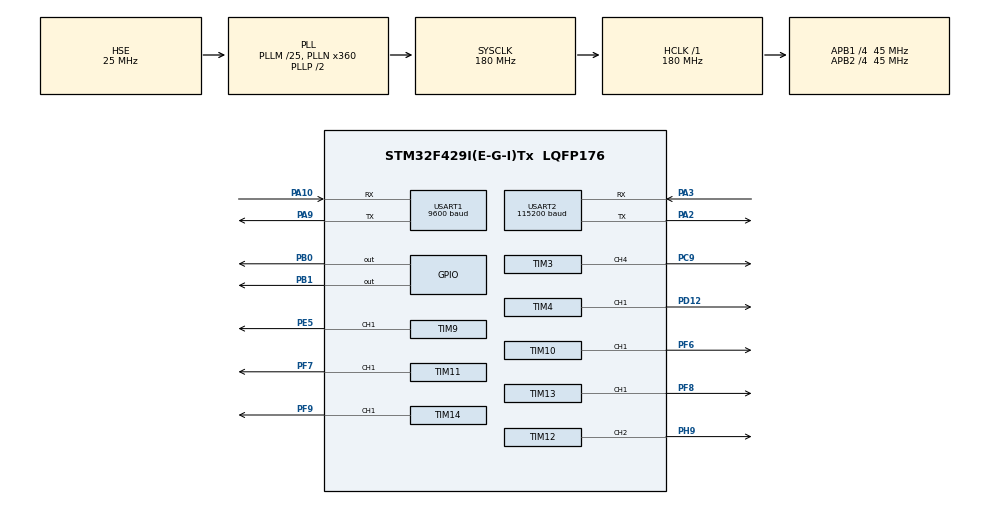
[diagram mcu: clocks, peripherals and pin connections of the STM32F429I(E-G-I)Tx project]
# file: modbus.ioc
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Mcu.Family=STM32F4
Mcu.Name=STM32F429I(E-G-I)Tx
Mcu.Package=LQFP176
NVIC.PriorityGroup=NVIC_PRIORITYGROUP_2
NVIC.TIM6_DAC_IRQn=true\:1\:0\:true\:false\:true
NVIC.USART1_IRQn=true\:3\:3\:true\:false\:true
NVIC.USART2_IRQn=true\:1\:0\:true\:false\:true
PA10.Mode=Asynchronous
PA10.Signal=USART1_RX
PA2.Mode=Asynchronous
PA2.Signal=USART2_TX
PA3.Mode=Asynchronous
PA3.Signal=USART2_RX
PA9.Mode=Asynchronous
PA9.Signal=USART1_TX
PB0.GPIO_PuPd=GPIO_PULLUP
PB0.GPIO_Speed=GPIO_SPEED_FREQ_VERY_HIGH
PB0.PinState=GPIO_PIN_RESET
PB0.Signal=GPIO_Output
PB1.GPIO_ModeDefaultOutputPP=GPIO_MODE_OUTPUT_PP
PB1.GPIO_PuPd=GPIO_PULLUP
PB1.GPIO_Speed=GPIO_SPEED_FREQ_VERY_HIGH
PB1.Signal=GPIO_Output
PC9.Signal=S_TIM3_CH4
PD12.Signal=S_TIM4_CH1
PE5.Signal=S_TIM9_CH1
PF6.Signal=S_TIM10_CH1
PF7.Signal=S_TIM11_CH1
PF8.Signal=S_TIM13_CH1
PF9.Signal=S_TIM14_CH1
PH0/OSC_IN.Mode=HSE-External-Oscillator
PH0/OSC_IN.Signal=RCC_OSC_IN
PH1/OSC_OUT.Mode=HSE-External-Oscillator
PH1/OSC_OUT.Signal=RCC_OSC_OUT
PH9.Signal=S_TIM12_CH2
ProjectManager.HeapSize=0x200
ProjectManager.StackSize=0x400
ProjectManager.TargetToolchain=MDK-ARM V5
RCC.48MHZClocksFreq_Value=90000000
RCC.AHBFreq_Value=180000000
RCC.APB1CLKDivider=RCC_HCLK_DIV4
RCC.APB1Freq_Value=45000000
RCC.APB1TimFreq_Value=90000000
RCC.APB2CLKDivider=RCC_HCLK_DIV4
RCC.APB2Freq_Value=45000000
RCC.APB2TimFreq_Value=90000000
RCC.CortexFreq_Value=180000000
RCC.HCLKFreq_Value=180000000
RCC.HSE_VALUE=25000000
RCC.HSI_VALUE=16000000
RCC.LSE_VALUE=32768
RCC.PLLM=25
RCC.PLLN=360
RCC.PLLSourceVirtual=RCC_PLLSOURCE_HSE
RCC.SYSCLKFreq_VALUE=180000000
RCC.SYSCLKSource=RCC_SYSCLKSOURCE_PLLCLK
RCC.VCOOutputFreq_Value=360000000
SH.S_TIM10_CH1.0=TIM10_CH1,PWM Generation1 CH1
SH.S_TIM11_CH1.0=TIM11_CH1,PWM Generation1 CH1
SH.S_TIM12_CH2.0=TIM12_CH2,PWM Generation2 CH2
SH.S_TIM13_CH1.0=TIM13_CH1,PWM Generation1 CH1
SH.S_TIM14_CH1.0=TIM14_CH1,PWM Generation1 CH1
SH.S_TIM3_CH4.0=TIM3_CH4,PWM Generation4 CH4
SH.S_TIM4_CH1.0=TIM4_CH1,PWM Generation1 CH1
SH.S_TIM9_CH1.0=TIM9_CH1,PWM Generation1 CH1
TIM10.Period=100
TIM10.Prescaler=90
TIM10.Pulse=50
TIM11.Period=100
TIM11.Prescaler=90
TIM11.Pulse=50
TIM12.Channel-PWM\ Generation2\ CH2=TIM_CHANNEL_2
TIM12.Period=100
TIM12.Prescaler=90
TIM12.Pulse-PWM\ Generation2\ CH2=50
TIM13.Period=100
TIM13.Prescaler=90
TIM13.Pulse=50
TIM14.Period=100
TIM14.Prescaler=90
TIM14.Pulse=50
TIM3.Channel-PWM\ Generation4\ CH4=TIM_CHANNEL_4
TIM3.Period=100
TIM3.Prescaler=90
TIM3.Pulse-PWM\ Generation4\ CH4=50
TIM4.Period=100
TIM4.Prescaler=90
TIM4.Pulse-PWM\ Generation1\ CH1=50
TIM6.Period=1799
TIM6.Prescaler=89
TIM6.TIM_MasterOutputTrigger=TIM_TRGO_RESET
TIM9.Period=100
TIM9.Prescaler=90
TIM9.Pulse-PWM\ Generation1\ CH1=50
USART1.BaudRate=9600
USART2.BaudRate=115200
VP_TIM10_VS_ClockSourceINT.Mode=Enable_Timer
VP_TIM11_VS_ClockSourceINT.Mode=Enable_Timer
VP_TIM13_VS_ClockSourceINT.Mode=Enable_Timer
VP_TIM14_VS_ClockSourceINT.Mode=Enable_Timer
VP_TIM6_VS_ClockSourceINT.Mode=Enable_Timer
board=modbus

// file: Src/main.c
/**
  ******************************************************************************
  * File Name          : main.c
  * Description        : Main program body
  ******************************************************************************
  *
  * COPYRIGHT(c) 2018 STMicroelectronics
  *
  * Redistribution and use in source and binary forms, with or without modification,
  * are permitted provided that the following conditions are met:
  *   1. Redistributions of source code must retain the above copyright notice,
  *      this list of conditions and the following disclaimer.
  *   2. Redistributions in binary form must reproduce the above copyright notice,
  *      this list of conditions and the following disclaimer in the documentation
  *      and/or other materials provided with the distribution.
  *   3. Neither the name of STMicroelectronics nor the names of its contributors
  *      may be used to endorse or promote products derived from this software
  *      without specific prior written permission.
  *
  * THIS SOFTWARE IS PROVIDED BY THE COPYRIGHT HOLDERS AND CONTRIBUTORS "AS IS"
  * AND ANY EXPRESS OR IMPLIED WARRANTIES, INCLUDING, BUT NOT LIMITED TO, THE
  * IMPLIED WARRANTIES OF MERCHANTABILITY AND FITNESS FOR A PARTICULAR PURPOSE ARE
  * DISCLAIMED. IN NO EVENT SHALL THE COPYRIGHT HOLDER OR CONTRIBUTORS BE LIABLE
  * FOR ANY DIRECT, INDIRECT, INCIDENTAL, SPECIAL, EXEMPLARY, OR CONSEQUENTIAL
  * DAMAGES (INCLUDING, BUT NOT LIMITED TO, PROCUREMENT OF SUBSTITUTE GOODS OR
  * SERVICES; LOSS OF USE, DATA, OR PROFITS; OR BUSINESS INTERRUPTION) HOWEVER
  * CAUSED AND ON ANY THEORY OF LIABILITY, WHETHER IN CONTRACT, STRICT LIABILITY,
  * OR TORT (INCLUDING NEGLIGENCE OR OTHERWISE) ARISING IN ANY WAY OUT OF THE USE
  * OF THIS SOFTWARE, EVEN IF ADVISED OF THE POSSIBILITY OF SUCH DAMAGE.
  *
  ******************************************************************************
  */
#include "stm32f4xx_hal.h"

/* USER CODE BEGIN Includes */

#include "delay.h"
#include "sys.h"
#include "myapp.h"
#include "mb.h"
#include "mbport.h"

/* USER CODE END Includes */

TIM_HandleTypeDef htim3;
TIM_HandleTypeDef htim4;
TIM_HandleTypeDef htim6;
TIM_HandleTypeDef htim9;
TIM_HandleTypeDef htim10;
TIM_HandleTypeDef htim11;
TIM_HandleTypeDef htim12;
TIM_HandleTypeDef htim13;
TIM_HandleTypeDef htim14;

UART_HandleTypeDef huart1;
UART_HandleTypeDef huart2;

/* USER CODE BEGIN PV */
/* Private variables ---------------------------------------------------------*/

/*线圈状态寄存器*/
#define REG_COILS_START 0x0000
#define REG_COILS_SIZE 8

/*线圈状态输入寄存器*/
#define REG_DISCRETE_START 0x0000
#define REG_DISCRETE_SIZE 8

/*保持寄存器*/
#define REG_HOLDING_START 0x0000
#define REG_HOLDING_NREGS 10

/*输入寄存器*/
#define REG_INPUT_START 0x0000
#define REG_INPUT_NREGS 1

/* USER CODE END PV */

void SystemClock_Config(void);
static void MX_GPIO_Init(void);
static void MX_TIM3_Init(void);
static void MX_TIM10_Init(void);
static void MX_TIM11_Init(void);
static void MX_TIM13_Init(void);
static void MX_TIM14_Init(void);
static void MX_TIM4_Init(void);
static void MX_TIM9_Init(void);
static void MX_TIM12_Init(void);
static void MX_TIM6_Init(void);
static void MX_USART2_UART_Init(void);
static void MX_USART1_UART_Init(void);

void HAL_TIM_MspPostInit(TIM_HandleTypeDef *htim);

/* USER CODE BEGIN PFP */
/* Private function prototypes -----------------------------------------------*/

/* USER CODE END PFP */

/* USER CODE BEGIN 0 */

/*定义线圈状态寄存器的地址起始值和存储数组*/
uint8_t   ucRegCoilsStart = REG_HOLDING_START;
uint8_t   ucRegCoilsBuf[REG_COILS_SIZE / 8];

/*定义线圈输入状态寄存器的地址起始值和存储数组*/
uint8_t   ucRegDiscreteStart = REG_HOLDING_START;
uint8_t   ucRegDiscreteBuf[REG_DISCRETE_SIZE / 8];

/*定义保持寄存器的地址起始值和存储数组*/
uint16_t   usRegHoldingStart = REG_HOLDING_START;
uint16_t   usRegHoldingBuf[REG_HOLDING_NREGS] = {0,0,0,0,0,0,0,0,0,0};

/*定义输入寄存器的地址起始值和存储数组*/
uint16_t   usRegInputStart = REG_INPUT_START;
uint16_t   usRegInputBuf[REG_INPUT_NREGS];

/* USER CODE END 0 */

int main(void)
{

  /* MCU Configuration----------------------------------------------------------*/

  /* Reset of all peripherals, Initializes the Flash interface and the Systick. */
  HAL_Init();

  /* Configure the system clock */
  SystemClock_Config();

  /* Initialize all configured peripherals */
  MX_GPIO_Init();
  MX_TIM3_Init();
  MX_TIM10_Init();
  MX_TIM11_Init();
  MX_TIM13_Init();
  MX_TIM14_Init();
  MX_TIM4_Init();
  MX_TIM9_Init();
  MX_TIM12_Init();
  MX_TIM6_Init();
  MX_USART2_UART_Init();
  MX_USART1_UART_Init();

  /* USER CODE BEGIN 2 */

	delay_init(180);

	HAL_UART_Receive_IT(&huart2, (uint8_t *)huart2_aRxBuffer, 1);

	eMBErrorCode    eStatus;

    eStatus = eMBInit( MB_RTU, 0x02, 0, 115200, MB_PAR_EVEN );

    /* Enable the Modbus Protocol Stack. */
    eStatus = eMBEnable();

  /* USER CODE END 2 */

  /* Infinite loop */
  while (1)
  {

  /* USER CODE BEGIN 3 */

    for( ;; )
    {

        ( void )eMBPoll(  );
		//vMBPortSerialEnable( TRUE, FALSE );
        //printf("eMBPoll\r\n");
           // eSndState = STATE_TX_IDLE;
        /* Here we simply count the number of poll cycles. */
       //usRegInputBuf[0]++;
    }

  }
  /* USER CODE END 3 */

}

/** System Clock Configuration
*/
void SystemClock_Config(void)
{

  RCC_OscInitTypeDef RCC_OscInitStruct;
  RCC_ClkInitTypeDef RCC_ClkInitStruct;

  __HAL_RCC_PWR_CLK_ENABLE();

  __HAL_PWR_VOLTAGESCALING_CONFIG(PWR_REGULATOR_VOLTAGE_SCALE1);

  RCC_OscInitStruct.OscillatorType = RCC_OSCILLATORTYPE_HSE;
  RCC_OscInitStruct.HSEState = RCC_HSE_ON;
  RCC_OscInitStruct.PLL.PLLState = RCC_PLL_ON;
  RCC_OscInitStruct.PLL.PLLSource = RCC_PLLSOURCE_HSE;
  RCC_OscInitStruct.PLL.PLLM = 25;
  RCC_OscInitStruct.PLL.PLLN = 360;
  RCC_OscInitStruct.PLL.PLLP = RCC_PLLP_DIV2;
  RCC_OscInitStruct.PLL.PLLQ = 4;
  HAL_RCC_OscConfig(&RCC_OscInitStruct);

  HAL_PWREx_EnableOverDrive();

  RCC_ClkInitStruct.ClockType = RCC_CLOCKTYPE_HCLK|RCC_CLOCKTYPE_SYSCLK
                              |RCC_CLOCKTYPE_PCLK1|RCC_CLOCKTYPE_PCLK2;
  RCC_ClkInitStruct.SYSCLKSource = RCC_SYSCLKSOURCE_PLLCLK;
  RCC_ClkInitStruct.AHBCLKDivider = RCC_SYSCLK_DIV1;
  RCC_ClkInitStruct.APB1CLKDivider = RCC_HCLK_DIV4;
  RCC_ClkInitStruct.APB2CLKDivider = RCC_HCLK_DIV4;
  HAL_RCC_ClockConfig(&RCC_ClkInitStruct, FLASH_LATENCY_5);

  HAL_SYSTICK_Config(HAL_RCC_GetHCLKFreq()/1000);

  HAL_SYSTICK_CLKSourceConfig(SYSTICK_CLKSOURCE_HCLK);

  /* SysTick_IRQn interrupt configuration */
  HAL_NVIC_SetPriority(SysTick_IRQn, 0, 0);
}

/* TIM3 init function */
void MX_TIM3_Init(void)
{

  TIM_MasterConfigTypeDef sMasterConfig;
  TIM_OC_InitTypeDef sConfigOC;

  htim3.Instance = TIM3;
  htim3.Init.Prescaler = 90;
  htim3.Init.CounterMode = TIM_COUNTERMODE_UP;
  htim3.Init.Period = 100;
  htim3.Init.ClockDivision = TIM_CLOCKDIVISION_DIV1;
  HAL_TIM_PWM_Init(&htim3);

  sMasterConfig.MasterOutputTrigger = TIM_TRGO_RESET;
  sMasterConfig.MasterSlaveMode = TIM_MASTERSLAVEMODE_DISABLE;
  HAL_TIMEx_MasterConfigSynchronization(&htim3, &sMasterConfig);

  sConfigOC.OCMode = TIM_OCMODE_PWM1;
  sConfigOC.Pulse = 50;
  sConfigOC.OCPolarity = TIM_OCPOLARITY_HIGH;
  sConfigOC.OCFastMode = TIM_OCFAST_DISABLE;
  HAL_TIM_PWM_ConfigChannel(&htim3, &sConfigOC, TIM_CHANNEL_4);

  HAL_TIM_MspPostInit(&htim3);

}

/* TIM4 init function */
void MX_TIM4_Init(void)
{

  TIM_MasterConfigTypeDef sMasterConfig;
  TIM_OC_InitTypeDef sConfigOC;

  htim4.Instance = TIM4;
  htim4.Init.Prescaler = 90;
  htim4.Init.CounterMode = TIM_COUNTERMODE_UP;
  htim4.Init.Period = 100;
  htim4.Init.ClockDivision = TIM_CLOCKDIVISION_DIV1;
  HAL_TIM_PWM_Init(&htim4);

  sMasterConfig.MasterOutputTrigger = TIM_TRGO_RESET;
  sMasterConfig.MasterSlaveMode = TIM_MASTERSLAVEMODE_DISABLE;
  HAL_TIMEx_MasterConfigSynchronization(&htim4, &sMasterConfig);

  sConfigOC.OCMode = TIM_OCMODE_PWM1;
  sConfigOC.Pulse = 50;
  sConfigOC.OCPolarity = TIM_OCPOLARITY_HIGH;
  sConfigOC.OCFastMode = TIM_OCFAST_DISABLE;
  HAL_TIM_PWM_ConfigChannel(&htim4, &sConfigOC, TIM_CHANNEL_1);

  HAL_TIM_MspPostInit(&htim4);

}

/* TIM6 init function */
void MX_TIM6_Init(void)
{

  TIM_MasterConfigTypeDef sMasterConfig;

  htim6.Instance = TIM6;
  htim6.Init.Prescaler = 89;
  htim6.Init.CounterMode = TIM_COUNTERMODE_UP;
  htim6.Init.Period = 1799;
  HAL_TIM_Base_Init(&htim6);

  sMasterConfig.MasterOutputTrigger = TIM_TRGO_RESET;
  sMasterConfig.MasterSlaveMode = TIM_MASTERSLAVEMODE_DISABLE;
  HAL_TIMEx_MasterConfigSynchronization(&htim6, &sMasterConfig);

}

/* TIM9 init function */
void MX_TIM9_Init(void)
{

  TIM_OC_InitTypeDef sConfigOC;

  htim9.Instance = TIM9;
  htim9.Init.Prescaler = 90;
  htim9.Init.CounterMode = TIM_COUNTERMODE_UP;
  htim9.Init.Period = 100;
  htim9.Init.ClockDivision = TIM_CLOCKDIVISION_DIV1;
  HAL_TIM_PWM_Init(&htim9);

  sConfigOC.OCMode = TIM_OCMODE_PWM1;
  sConfigOC.Pulse = 50;
  sConfigOC.OCPolarity = TIM_OCPOLARITY_HIGH;
  sConfigOC.OCFastMode = TIM_OCFAST_DISABLE;
  HAL_TIM_PWM_ConfigChannel(&htim9, &sConfigOC, TIM_CHANNEL_1);

  HAL_TIM_MspPostInit(&htim9);

}

/* TIM10 init function */
void MX_TIM10_Init(void)
{

  TIM_OC_InitTypeDef sConfigOC;

  htim10.Instance = TIM10;
  htim10.Init.Prescaler = 90;
  htim10.Init.CounterMode = TIM_COUNTERMODE_UP;
  htim10.Init.Period = 100;
  htim10.Init.ClockDivision = TIM_CLOCKDIVISION_DIV1;
  HAL_TIM_Base_Init(&htim10);

  HAL_TIM_PWM_Init(&htim10);

  sConfigOC.OCMode = TIM_OCMODE_PWM1;
  sConfigOC.Pulse = 50;
  sConfigOC.OCPolarity = TIM_OCPOLARITY_HIGH;
  sConfigOC.OCFastMode = TIM_OCFAST_DISABLE;
  HAL_TIM_PWM_ConfigChannel(&htim10, &sConfigOC, TIM_CHANNEL_1);

  HAL_TIM_MspPostInit(&htim10);

}

/* TIM11 init function */
void MX_TIM11_Init(void)
{

  TIM_OC_InitTypeDef sConfigOC;

  htim11.Instance = TIM11;
  htim11.Init.Prescaler = 90;
  htim11.Init.CounterMode = TIM_COUNTERMODE_UP;
  htim11.Init.Period = 100;
  htim11.Init.ClockDivision = TIM_CLOCKDIVISION_DIV1;
  HAL_TIM_Base_Init(&htim11);

  HAL_TIM_PWM_Init(&htim11);

  sConfigOC.OCMode = TIM_OCMODE_PWM1;
  sConfigOC.Pulse = 50;
  sConfigOC.OCPolarity = TIM_OCPOLARITY_HIGH;
  sConfigOC.OCFastMode = TIM_OCFAST_DISABLE;
  HAL_TIM_PWM_ConfigChannel(&htim11, &sConfigOC, TIM_CHANNEL_1);

  HAL_TIM_MspPostInit(&htim11);

}

/* TIM12 init function */
void MX_TIM12_Init(void)
{

  TIM_OC_InitTypeDef sConfigOC;

  htim12.Instance = TIM12;
  htim12.Init.Prescaler = 90;
  htim12.Init.CounterMode = TIM_COUNTERMODE_UP;
  htim12.Init.Period = 100;
  htim12.Init.ClockDivision = TIM_CLOCKDIVISION_DIV1;
  HAL_TIM_PWM_Init(&htim12);

  sConfigOC.OCMode = TIM_OCMODE_PWM1;
  sConfigOC.Pulse = 50;
  sConfigOC.OCPolarity = TIM_OCPOLARITY_HIGH;
  sConfigOC.OCFastMode = TIM_OCFAST_DISABLE;
  HAL_TIM_PWM_ConfigChannel(&htim12, &sConfigOC, TIM_CHANNEL_2);

  HAL_TIM_MspPostInit(&htim12);

}

/* TIM13 init function */
void MX_TIM13_Init(void)
{

  TIM_OC_InitTypeDef sConfigOC;

  htim13.Instance = TIM13;
  htim13.Init.Prescaler = 90;
  htim13.Init.CounterMode = TIM_COUNTERMODE_UP;
  htim13.Init.Period = 100;
  htim13.Init.ClockDivision = TIM_CLOCKDIVISION_DIV1;
  HAL_TIM_Base_Init(&htim13);

  HAL_TIM_PWM_Init(&htim13);

  sConfigOC.OCMode = TIM_OCMODE_PWM1;
  sConfigOC.Pulse = 50;
  sConfigOC.OCPolarity = TIM_OCPOLARITY_HIGH;
  sConfigOC.OCFastMode = TIM_OCFAST_DISABLE;
  HAL_TIM_PWM_ConfigChannel(&htim13, &sConfigOC, TIM_CHANNEL_1);

  HAL_TIM_MspPostInit(&htim13);

}

/* TIM14 init function */
void MX_TIM14_Init(void)
{

  TIM_OC_InitTypeDef sConfigOC;

  htim14.Instance = TIM14;
  htim14.Init.Prescaler = 90;
  htim14.Init.CounterMode = TIM_COUNTERMODE_UP;
  htim14.Init.Period = 100;
  htim14.Init.ClockDivision = TIM_CLOCKDIVISION_DIV1;
  HAL_TIM_Base_Init(&htim14);

  HAL_TIM_PWM_Init(&htim14);

  sConfigOC.OCMode = TIM_OCMODE_PWM1;
  sConfigOC.Pulse = 50;
  sConfigOC.OCPolarity = TIM_OCPOLARITY_HIGH;
  sConfigOC.OCFastMode = TIM_OCFAST_DISABLE;
  HAL_TIM_PWM_ConfigChannel(&htim14, &sConfigOC, TIM_CHANNEL_1);

  HAL_TIM_MspPostInit(&htim14);

}

/* USART1 init function */
void MX_USART1_UART_Init(void)
{

  huart1.Instance = USART1;
  huart1.Init.BaudRate = 9600;
  huart1.Init.WordLength = UART_WORDLENGTH_8B;
  huart1.Init.StopBits = UART_STOPBITS_1;
  huart1.Init.Parity = UART_PARITY_NONE;
  huart1.Init.Mode = UART_MODE_TX_RX;
  huart1.Init.HwFlowCtl = UART_HWCONTROL_NONE;
  huart1.Init.OverSampling = UART_OVERSAMPLING_16;
  HAL_UART_Init(&huart1);

}

/* USART2 init function */
void MX_USART2_UART_Init(void)
{

  huart2.Instance = USART2;
  huart2.Init.BaudRate = 115200;
  huart2.Init.WordLength = UART_WORDLENGTH_8B;
  huart2.Init.StopBits = UART_STOPBITS_1;
  huart2.Init.Parity = UART_PARITY_NONE;
  huart2.Init.Mode = UART_MODE_TX_RX;
  huart2.Init.HwFlowCtl = UART_HWCONTROL_NONE;
  huart2.Init.OverSampling = UART_OVERSAMPLING_16;
  HAL_UART_Init(&huart2);

}

/** Configure pins as
        * Analog
        * Input
        * Output
        * EVENT_OUT
        * EXTI
*/
void MX_GPIO_Init(void)
{

  GPIO_InitTypeDef GPIO_InitStruct;

  /* GPIO Ports Clock Enable */
  __HAL_RCC_GPIOE_CLK_ENABLE();
  __HAL_RCC_GPIOF_CLK_ENABLE();
  __HAL_RCC_GPIOH_CLK_ENABLE();
  __HAL_RCC_GPIOA_CLK_ENABLE();
  __HAL_RCC_GPIOB_CLK_ENABLE();
  __HAL_RCC_GPIOD_CLK_ENABLE();
  __HAL_RCC_GPIOC_CLK_ENABLE();

  /*Configure GPIO pin Output Level */
  HAL_GPIO_WritePin(GPIOB, GPIO_PIN_0|GPIO_PIN_1, GPIO_PIN_RESET);

  /*Configure GPIO pins : PB0 PB1 */
  GPIO_InitStruct.Pin = GPIO_PIN_0|GPIO_PIN_1;
  GPIO_InitStruct.Mode = GPIO_MODE_OUTPUT_PP;
  GPIO_InitStruct.Pull = GPIO_PULLUP;
  GPIO_InitStruct.Speed = GPIO_SPEED_FREQ_VERY_HIGH;
  HAL_GPIO_Init(GPIOB, &GPIO_InitStruct);

}

/* USER CODE BEGIN 4 */
//04
/**
* @brief 输入寄存器处理函数，输入寄存器可读，但不可写。
* @param pucRegBuffer 返回数据指针
* usAddress 寄存器起始地址
* usNRegs 寄存器长度
* @retval eStatus 寄存器状态
*/

eMBErrorCode
eMBRegInputCB( UCHAR * pucRegBuffer, USHORT usAddress, USHORT usNRegs )
{
    eMBErrorCode    eStatus = MB_ENOERR;
    int16_t             iRegIndex;

//  用作例子
    usRegInputBuf[0] = 0x11;
//  例子结束

    //查询是否在寄存器范围内
    //为了避免警告，修改为有符号整数
    if( ((int16_t) usAddress >= REG_INPUT_START ) \
        && ( usAddress + usNRegs <= REG_INPUT_START + REG_INPUT_NREGS ) )
    {
        //获得操作偏移量，本次操作起始地址-输入寄存器的初始地址
        iRegIndex = ( int16_t )( usAddress - usRegInputStart );
        //逐个赋值
        while( usNRegs > 0 )
        {
            //赋值高字节
            *pucRegBuffer++ = ( uint8_t )( usRegInputBuf[iRegIndex] >> 8 );
            //赋值低字节
            *pucRegBuffer++ = ( uint8_t )( usRegInputBuf[iRegIndex] & 0xFF );
            //偏移量增加
            iRegIndex++;
            //被操作寄存器数量递减
            usNRegs--;
        }
    }
    else
    {
        //返回错误状态，寄存器数量不对
        eStatus = MB_ENOREG;
    }

    return eStatus;
}

/**
* @brief 保持寄存器处理函数，保持寄存器可读，可读可写
* @param pucRegBuffer 读操作时--返回数据指针，写操作时--输入数据指针
* usAddress 寄存器起始地址
* usNRegs 寄存器长度
* eMode 操作方式，读或者写
* @retval eStatus 寄存器状态
*/
//03 16 06
eMBErrorCode
eMBRegHoldingCB( UCHAR * pucRegBuffer, USHORT usAddress, USHORT usNRegs,
eMBRegisterMode eMode )
{
    //错误状态
    eMBErrorCode eStatus = MB_ENOERR;
    //偏移量
    int16_t iRegIndex;

    //判断寄存器是不是在范围内
    if( ( (int16_t)usAddress >= REG_HOLDING_START ) \
    && ( usAddress + usNRegs <= REG_HOLDING_START + REG_HOLDING_NREGS ) )
    {
        //计算偏移量
        iRegIndex = ( int16_t )( usAddress - REG_HOLDING_START );

        switch ( eMode )
        {
            //读处理函数
            case MB_REG_READ:
            while( usNRegs > 0 )
            {
                *pucRegBuffer++ = ( uint8_t )( usRegHoldingBuf[iRegIndex] >> 8 );
                *pucRegBuffer++ = ( uint8_t )( usRegHoldingBuf[iRegIndex] & 0xFF );
                iRegIndex++;
                usNRegs--;
            }
            break;

            //写处理函数
            case MB_REG_WRITE:
            while( usNRegs > 0 )
            {
                usRegHoldingBuf[iRegIndex] = *pucRegBuffer++ << 8;
                usRegHoldingBuf[iRegIndex] |= *pucRegBuffer++;
                iRegIndex++;
                usNRegs--;
            }
            break;
        }
    }
    else
    {
        //返回错误状态
        eStatus = MB_ENOREG;
    }

    return eStatus;
}

/**
* @brief 线圈寄存器处理函数，线圈寄存器可读，可读可写
* @param pucRegBuffer 读操作---返回数据指针，写操作--返回数据指针
* usAddress 寄存器起始地址
* usNRegs 寄存器长度
* eMode 操作方式，读或者写
* @retval eStatus 寄存器状态
*/
eMBErrorCode
eMBRegCoilsCB( UCHAR * pucRegBuffer, USHORT usAddress, USHORT usNCoils,
eMBRegisterMode eMode )
{
    //错误状态
    eMBErrorCode eStatus = MB_ENOERR;
    //寄存器个数
    int16_t iNCoils = ( int16_t )usNCoils;
    //寄存器偏移量
    int16_t usBitOffset;

    //检查寄存器是否在指定范围内
    if( ( (int16_t)usAddress >= REG_COILS_START ) &&
    ( usAddress + usNCoils <= REG_COILS_START + REG_COILS_SIZE ) )
    {
        //计算寄存器偏移量
        usBitOffset = ( int16_t )( usAddress - REG_COILS_START );
        switch ( eMode )
        {
            //读操作
            case MB_REG_READ:
                while( iNCoils > 0 )
                {
                    *pucRegBuffer++ = xMBUtilGetBits( ucRegCoilsBuf, usBitOffset,
                    ( uint8_t )( iNCoils > 8 ? 8 : iNCoils ) );
                    iNCoils -= 8;
                    usBitOffset += 8;
                }
            break;

            //写操作
            case MB_REG_WRITE:
            while( iNCoils > 0 )
                {
                    xMBUtilSetBits( ucRegCoilsBuf, usBitOffset,
                    ( uint8_t )( iNCoils > 8 ? 8 : iNCoils ),
                    *pucRegBuffer++ );
                    iNCoils -= 8;
                }
            break;
        }

    }
    else
    {
        eStatus = MB_ENOREG;
    }
    return eStatus;
}

/**
* @brief 开关输入寄存器处理函数，开关输入寄存器，可读
* @param pucRegBuffer 读操作---返回数据指针，写操作--返回数据指针
* usAddress 寄存器起始地址
* usNRegs 寄存器长度
* eMode 操作方式，读或者写
* @retval eStatus 寄存器状态
*/
eMBErrorCode
eMBRegDiscreteCB( UCHAR * pucRegBuffer, USHORT usAddress, USHORT usNDiscrete )
{
    //错误状态
    eMBErrorCode eStatus = MB_ENOERR;
    //操作寄存器个数
    int16_t iNDiscrete = ( int16_t )usNDiscrete;
    //偏移量
    uint16_t usBitOffset;

    //判断寄存器时候再制定范围内
    if( ( (int16_t)usAddress >= REG_DISCRETE_START ) &&
    ( usAddress + usNDiscrete <= REG_DISCRETE_START + REG_DISCRETE_SIZE ) )
    {
        //获得偏移量
        usBitOffset = ( uint16_t )( usAddress - REG_DISCRETE_START );

        while( iNDiscrete > 0 )
        {
            *pucRegBuffer++ = xMBUtilGetBits( ucRegDiscreteBuf, usBitOffset,
            ( uint8_t)( iNDiscrete > 8 ? 8 : iNDiscrete ) );
            iNDiscrete -= 8;
            usBitOffset += 8;
        }

    }
    else
    {
        eStatus = MB_ENOREG;
    }
    return eStatus;
}

/* USER CODE END 4 */

/************************ (C) COPYRIGHT STMicroelectronics *****END OF FILE****/
